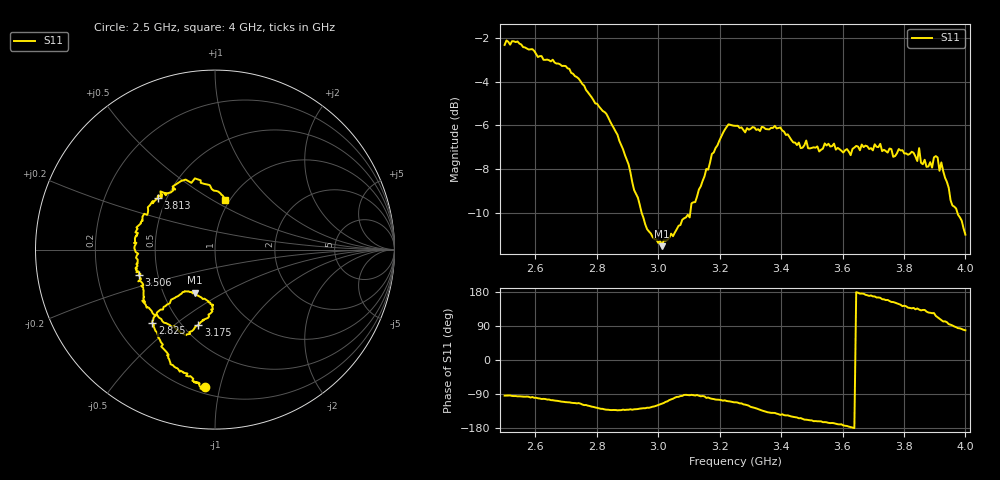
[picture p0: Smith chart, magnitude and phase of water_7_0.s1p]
# MHz S MA R 50
!  freq  S11
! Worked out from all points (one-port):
!   250 points, 2.5 GHz to 4 GHz, reference 50 ohm
!   lowest |S11| = -11.5 dB at 3.012 GHz (marker M1), VSWR 1.72, Z = 35.8 - j18.5 ohm
!   |S11| at or under -10 dB: 2.946 GHz to 3.104 GHz (158.2 MHz wide, 5.23 % of centre); 3.974 GHz to end of sweep
!   S11 on the Smith chart (normalised r, x): 2.5 GHz: 0.25, -0.90; 2.825 GHz: 0.36, -0.41; 3.175 GHz: 0.59, -0.61; 3.506 GHz: 0.39, -0.14; 3.813 GHz: 0.45, +0.31; 4 GHz: 0.95, +0.57
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2500  0.765 -94.0
2590.361  0.7483 -97.7
2692.771  0.6854 -110.4
2740.964  0.6411 -113.8
2825.301  0.5376 -130.4
2879.518  0.4518 -132.3
2963.855  0.2902 -125.9
3012.048  0.2654 -115.3
3066.265  0.2954 -97.2
3126.506  0.3447 -92.4
3174.699  0.4311 -102.4
3228.916  0.5037 -108.8
3253.012  0.4998 -111.6
3355.422  0.4912 -137.7
3397.59  0.4955 -144.9
3439.759  0.4581 -150.2
3506.024  0.4464 -161.4
3572.289  0.4552 -166.8
3626.506  0.4284 -176.9
3722.892  0.4548 164.2
3813.253  0.4293 138.1
3843.373  0.4154 136.0
3849.398  0.4446 133.2
3891.566  0.4013 123.5
3897.59  0.4233 123.9
3921.687  0.4123 105.8
3945.783  0.3606 94.7
4000  0.2819 78.3
